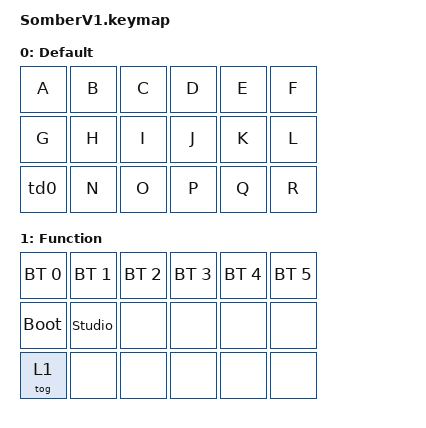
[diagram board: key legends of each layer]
1| #include <behaviors.dtsi>
#include <dt-bindings/zmk/keys.h>
#include <dt-bindings/zmk/bt.h>

/ {
    behaviors {
        td0: tap_dance_0 {
            compatible = "zmk,behavior-tap-dance";
            #binding-cells = <0>;
            tapping-term-ms = <135>;
            bindings = <&kp M>, <&tog 1>;
        };
    };

    keymap {
        compatible = "zmk,keymap";

        default_layer {
            display-name = "Default";

            bindings = <
                &kp A &kp B &kp C &kp D &kp E &kp F
                &kp G &kp H &kp I &kp J &kp K &kp L
                &td0  &kp N &kp O &kp P &kp Q &kp R
            >;
        };

        function_layer {
            display-name = "Function";

            bindings =<
                &bt BT_SEL 0 &bt BT_SEL 1   &bt BT_SEL 2 &bt BT_SEL 3 &bt BT_SEL 4 &bt BT_SEL 5
                &bootloader  &studio_unlock &none        &none        &none        &none
                &tog 1       &none          &none        &none        &none        &none
            >;
        };
    };
};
